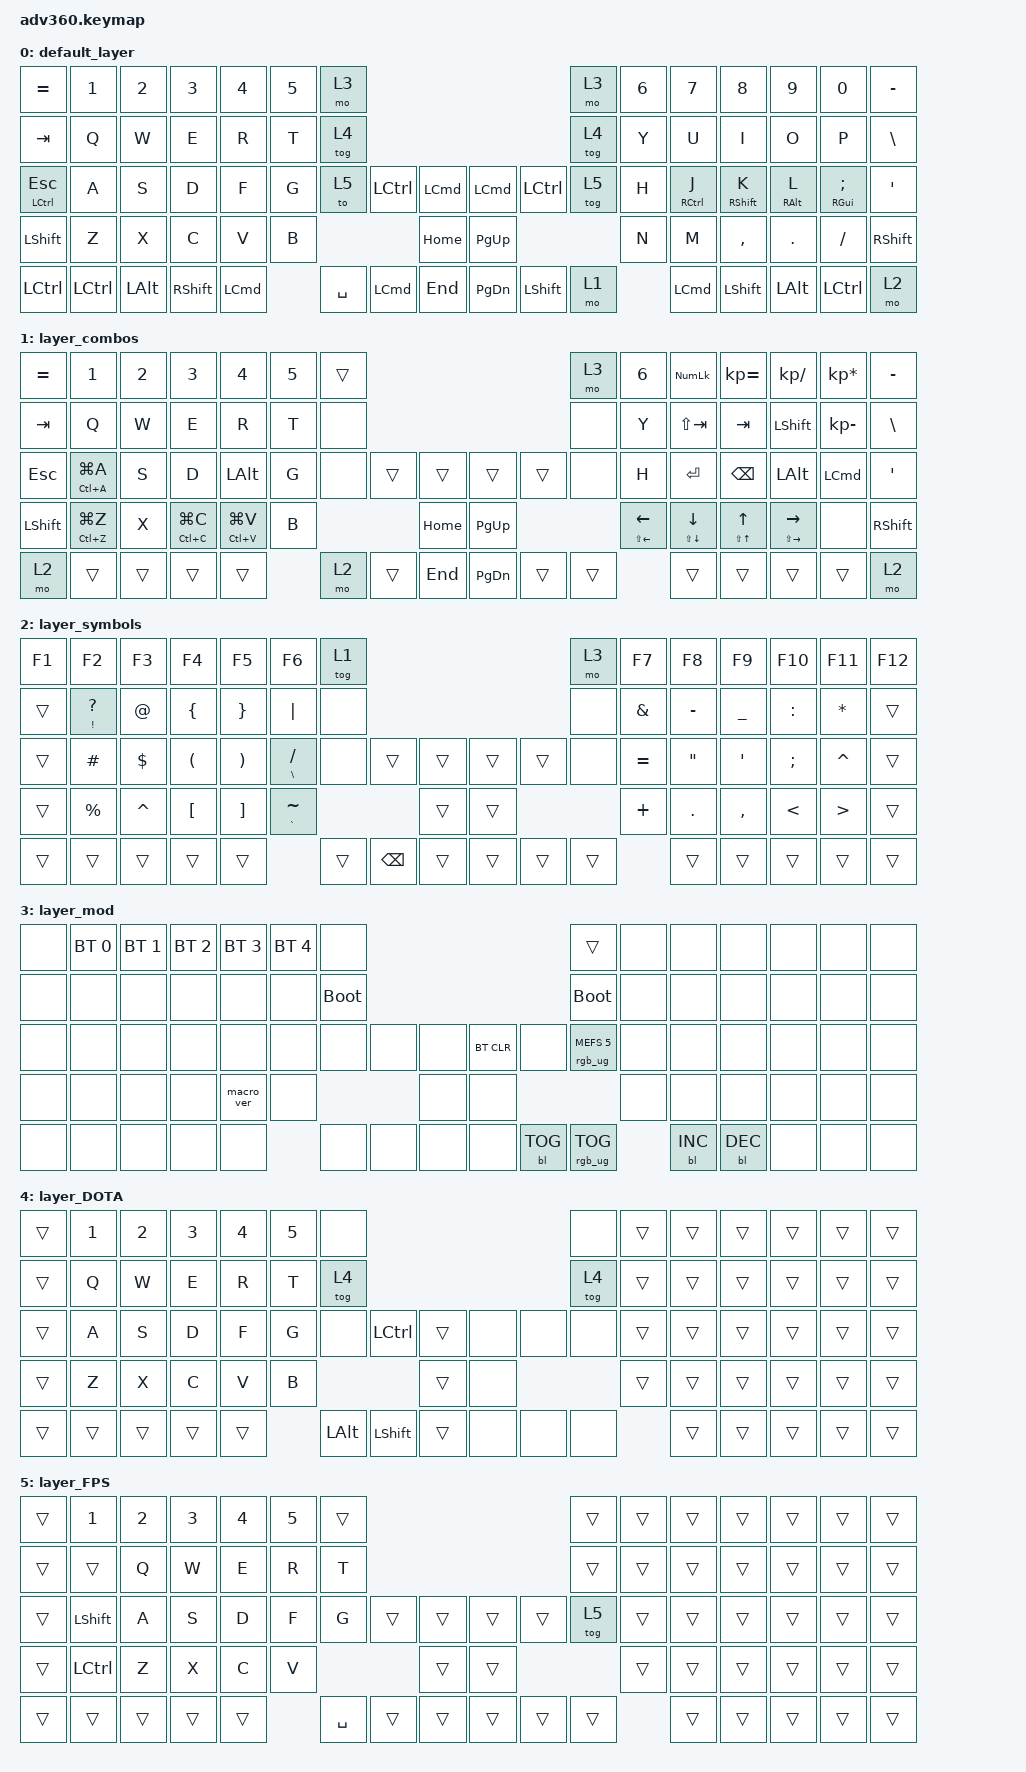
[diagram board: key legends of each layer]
/*
 * Copyright (c) 2020 The ZMK Contributors
 *
 * SPDX-License-Identifier: MIT
 */
/* THIS FILE WAS GENERATED!
 *
 * This file was generated automatically. You may or may not want to
 * edit it directly.
 */

#include <dt-bindings/zmk/stp.h>
#include <behaviors.dtsi>
#include <dt-bindings/zmk/backlight.h>
#include <dt-bindings/zmk/bt.h>
#include <dt-bindings/zmk/keys.h>
#include <dt-bindings/zmk/rgb.h>

/ {
    behaviors {
        #include "macros.dtsi"
      #include "version.dtsi"

        hm: homerow_mods {
            compatible = "zmk,behavior-hold-tap";
            label = "HOMEROW_MODS";
            #binding-cells = <2>;
            tapping-term-ms = <200>;
            quick_tap_ms = <175>;
            flavor = "tap-preferred";
            bindings = <&kp>, <&kp>;
        };
    };

    keymap {
        compatible = "zmk,keymap";

        default_layer {
            bindings = <
&kp EQUAL         &kp N1            &kp N2        &kp N3           &kp N4            &kp N5  &mo 3                                                                                  &mo 3   &kp N6  &kp N7               &kp N8             &kp N9           &kp N0                   &kp MINUS
&kp TAB           &kp Q             &kp W         &kp E            &kp R             &kp T   &tog 4                                                                                 &tog 4  &kp Y   &kp U                &kp I              &kp O            &kp P                    &kp BSLH
&mt LCTRL ESCAPE  &kp A             &kp S         &kp D            &kp F             &kp G   &to 5      &kp LCTRL         &kp LEFT_COMMAND      &kp LEFT_COMMAND  &kp LEFT_CONTROL  &tog 5  &kp H   &hm RIGHT_CONTROL J  &hm RIGHT_SHIFT K  &hm RIGHT_ALT L  &hm RIGHT_GUI SEMICOLON  &kp SQT
&kp LSHFT         &kp Z             &kp X         &kp C            &kp V             &kp B                                &kp HOME              &kp PG_UP                                   &kp N   &kp M                &kp COMMA          &kp DOT          &kp FSLH                 &kp RSHFT
&kp LCTRL         &kp LEFT_CONTROL  &kp LEFT_ALT  &kp RIGHT_SHIFT  &kp LEFT_COMMAND          &kp SPACE  &kp LEFT_COMMAND  &kp END               &kp PG_DN         &kp LEFT_SHIFT    &mo 1           &kp LEFT_COMMAND     &kp LEFT_SHIFT     &kp LEFT_ALT     &kp LEFT_CONTROL         &mo 2
            >;
        };

        layer_combos {
            bindings = <
&kp EQUAL  &kp N1           &kp N2  &kp N3           &kp N4           &kp N5  &trans                                           &mo 3   &kp N6                         &kp KP_NUM                     &kp KP_EQUAL               &kp KP_DIVIDE                    &kp KP_MULTIPLY   &kp MINUS
&kp TAB    &kp Q            &kp W   &kp E            &kp R            &kp T   &none                                            &none   &kp Y                          &kp LS(TAB)                    &kp TAB                    &kp LEFT_SHIFT                   &kp KP_MINUS      &kp BSLH
&kp ESC    &mt LC(A) LG(A)  &kp S   &kp D            &kp LEFT_ALT     &kp G   &none   &trans  &trans        &trans     &trans  &none   &kp H                          &kp ENTER                      &kp BACKSPACE              &kp LEFT_ALT                     &kp LEFT_COMMAND  &kp SQT
&kp LSHFT  &mt LC(Z) LG(Z)  &kp X   &mt LC(C) LG(C)  &mt LC(V) LG(V)  &kp B                   &kp HOME      &kp PG_UP                  &mt LS(LEFT_ARROW) LEFT_ARROW  &mt LS(DOWN_ARROW) DOWN_ARROW  &mt LS(UP_ARROW) UP_ARROW  &mt LS(RIGHT_ARROW) RIGHT_ARROW  &none             &kp RSHFT
&mo 2      &trans           &trans  &trans           &trans                   &mo 2   &trans  &kp END       &kp PG_DN  &trans  &trans                                 &trans                         &trans                     &trans                           &trans            &mo 2
            >;
        };

        layer_symbols {
            bindings = <
&kp F1  &kp F2                    &kp F3       &kp F4                &kp F5                 &kp F6               &tog 1                                             &mo 3   &kp F7         &kp F8             &kp F9            &kp F10        &kp F11           &kp F12
&trans  &mt EXCLAMATION QUESTION  &kp AT_SIGN  &kp LEFT_BRACE        &kp RIGHT_BRACE        &kp PIPE             &none                                              &none   &kp AMPERSAND  &kp MINUS          &kp UNDER         &kp COLON      &kp STAR          &trans
&trans  &kp HASH                  &kp DOLLAR   &kp LEFT_PARENTHESIS  &kp RIGHT_PARENTHESIS  &mt BACKSLASH SLASH  &none   &trans         &trans      &trans  &trans  &none   &kp EQUAL      &kp DOUBLE_QUOTES  &kp SINGLE_QUOTE  &kp SEMICOLON  &kp CARET         &trans
&trans  &kp PERCENT               &kp CARET    &kp LEFT_BRACKET      &kp RIGHT_BRACKET      &mt GRAVE TILDE                             &trans      &trans                  &kp PLUS       &kp DOT            &kp COMMA         &kp LT         &kp GREATER_THAN  &trans
&trans  &trans                    &trans       &trans                &trans                                      &trans  &kp BACKSPACE  &trans      &trans  &trans  &trans                 &trans             &trans            &trans         &trans            &trans
            >;
        };

        layer_mod {
            bindings = <
&none  &bt BT_SEL 0  &bt BT_SEL 1  &bt BT_SEL 2  &bt BT_SEL 3  &bt BT_SEL 4  &none                                                  &trans                  &none  &none       &none       &none  &none  &none
&none  &none         &none         &none         &none         &none         &bootloader                                            &bootloader             &none  &none       &none       &none  &none  &none
&none  &none         &none         &none         &none         &none         &none        &none  &none      &bt BT_CLR  &none       &rgb_ug RGB_MEFS_CMD 5  &none  &none       &none       &none  &none  &none
&none  &none         &none         &none         &macro_ver    &none                             &none      &none                                           &none  &none       &none       &none  &none  &none
&none  &none         &none         &none         &none                       &none        &none  &none      &none       &bl BL_TOG  &rgb_ug RGB_TOG                &bl BL_INC  &bl BL_DEC  &none  &none  &none
            >;
        };

        layer_DOTA {
            bindings = <
&trans  &kp NUMBER_1  &kp NUMBER_2  &kp NUMBER_3  &kp NUMBER_4  &kp NUMBER_5  &none                                                     &none   &trans  &trans  &trans  &trans  &trans  &trans
&trans  &kp Q         &kp W         &kp E         &kp R         &kp T         &tog 4                                                    &tog 4  &trans  &trans  &trans  &trans  &trans  &trans
&trans  &kp A         &kp S         &kp D         &kp F         &kp G         &none         &kp LEFT_CONTROL  &trans      &none  &none  &none   &trans  &trans  &trans  &trans  &trans  &trans
&trans  &kp Z         &kp X         &kp C         &kp V         &kp B                                         &trans      &none                 &trans  &trans  &trans  &trans  &trans  &trans
&trans  &trans        &trans        &trans        &trans                      &kp LEFT_ALT  &kp LEFT_SHIFT    &trans      &none  &none  &none           &trans  &trans  &trans  &trans  &trans
            >;
        };

        layer_FPS {
            bindings = <
&trans  &kp NUMBER_1      &kp NUMBER_2  &kp NUMBER_3  &kp NUMBER_4  &kp NUMBER_5  &trans                                         &trans  &trans  &trans  &trans  &trans  &trans  &trans
&trans  &trans            &kp Q         &kp W         &kp E         &kp R         &kp T                                          &trans  &trans  &trans  &trans  &trans  &trans  &trans
&trans  &kp LEFT_SHIFT    &kp A         &kp S         &kp D         &kp F         &kp G      &trans  &trans      &trans  &trans  &tog 5  &trans  &trans  &trans  &trans  &trans  &trans
&trans  &kp LEFT_CONTROL  &kp Z         &kp X         &kp C         &kp V                            &trans      &trans                  &trans  &trans  &trans  &trans  &trans  &trans
&trans  &trans            &trans        &trans        &trans                      &kp SPACE  &trans  &trans      &trans  &trans  &trans          &trans  &trans  &trans  &trans  &trans
            >;
        };
    };
};
